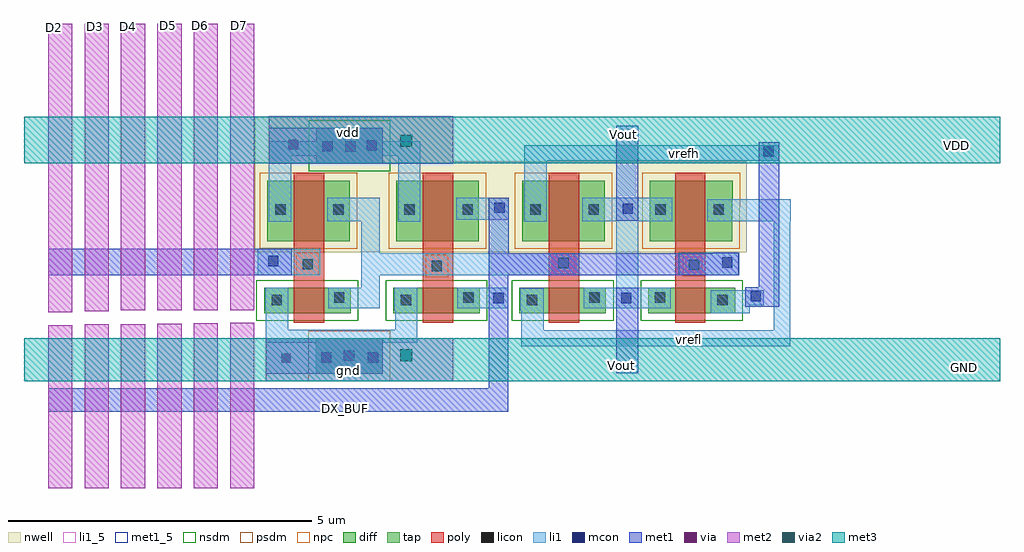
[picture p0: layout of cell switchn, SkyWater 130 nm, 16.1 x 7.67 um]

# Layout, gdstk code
import gdstk
lib = gdstk.Library(unit=1e-6, precision=1e-09)
def R(c, l, rs):  # rectangles x0, y0, x1, y1
    for r in rs: c.add(gdstk.rectangle(r[:2], r[2:], *l))
def A(c, l, x, y, w, h, nx, ny, dx, dy):  # array of equal rectangles
    R(c, l, [(x+i*dx, y+j*dy, x+i*dx+w, y+j*dy+h) for i in range(nx) for j in range(ny)])
nwell = (64, 20)
diff = (65, 20)
tap = (65, 44)
poly = (66, 20)
licon = (66, 44)
li1_5 = (67, 5)
li1 = (67, 20)
mcon = (67, 44)
met1_5 = (68, 5)
met1 = (68, 20)
via = (68, 44)
met2 = (69, 20)
via2 = (69, 44)
met3 = (70, 20)
nsdm = (93, 44)
psdm = (94, 20)
npc = (95, 20)

switchn = lib.new_cell('switchn')
R(switchn, nwell, [(-0.19,0,7.92,1.5), (-0.19,1.5,3.08,2.24)])
R(switchn, diff, [(-0.04,-1.01,1.39,-0.59), (2.09,-1.01,3.52,-0.59), (4.17,-1.01,5.6,-0.59), (6.3,-1.01,7.73,-0.59), (0.01,0.18,1.37,1.18), (2.14,0.18,3.5,1.18), (4.22,0.18,5.58,1.18), (6.32,0.18,7.68,0.87), (6.32,0.87,7.69,1.18)])
R(switchn, tap, [(0.81,-2.01,1.92,-1.42), (0.82,1.46,1.92,2.05)])
A(switchn, poly, 2.58, -1.17, 0.5, 2.48, 3, 1, 2.08, 0)
R(switchn, poly, [(0.45,-1.17,0.95,1.31)])
R(switchn, licon, [(1.275,-1.795,1.445,-1.625), (0.085,-0.875,0.255,-0.705), (2.215,-0.875,2.385,-0.705), (4.295,-0.875,4.465,-0.705), (7.435,-0.875,7.605,-0.705), (1.115,-0.835,1.285,-0.665), (3.245,-0.835,3.415,-0.665), (5.325,-0.835,5.495,-0.665), (6.405,-0.835,6.575,-0.665), (2.725,-0.315,2.895,-0.145), (6.965,-0.295,7.135,-0.125), (0.595,-0.285,0.765,-0.115), (4.815,-0.265,4.985,-0.095), (0.145,0.615,0.315,0.785), (1.105,0.615,1.275,0.785), (2.275,0.615,2.445,0.785), (3.235,0.615,3.405,0.785), (4.355,0.615,4.525,0.785), (5.315,0.615,5.485,0.785), (6.415,0.615,6.585,0.785), (7.375,0.615,7.545,0.785), (1.3,1.655,1.47,1.825)])
R(switchn, li1_5, [(6.77,-1.465,7.16,-1.435), (6.705,1.615,7.095,1.645)])
R(switchn, li1, [(0.81,-2.01,1.92,-1.5), (4.2,-1.55,8.64,-1.29), (8.37,-1.55,8.64,0.51), (-0.01,-1.5,0.36,-0.97), (-0.01,-1.5,2.49,-1.28), (4.2,-1.29,4.57,-0.97), (2.12,-1.28,2.49,-0.97), (7.33,-1.01,7.97,-0.88), (-0.02,-0.97,0.36,-0.6), (2.11,-0.97,2.49,-0.6), (4.19,-0.97,4.57,-0.6), (1.02,-0.93,1.87,-0.59), (3.15,-0.93,3.99,-0.59), (5.23,-0.93,6.67,-0.59), (5.77,-0.93,6.13,0.9), (7.33,-0.88,8.2,-0.63), (-0.01,-0.6,0.36,-0.59), (2.12,-0.6,2.49,-0.59), (1.56,-0.59,1.87,-0.38), (-0.145,-0.385,0.89,0.055), (1.56,-0.38,5.15,-0.02), (6.8,-0.38,7.8,-0.01), (1.56,-0.02,1.87,0.51), (0.04,0.5,0.41,1.59), (2.17,0.5,2.54,1.59), (4.25,0.5,4.62,1.76), (1,0.51,1.87,0.9), (5.21,0.51,6.69,0.9), (7.27,0.51,8.65,0.87), (3.13,0.53,4,0.9), (0.82,1.46,1.92,1.59), (4.25,1.51,8.46,1.76), (0.04,1.59,2.54,1.83), (0.82,1.83,1.92,2.05)])
R(switchn, mcon, [(0.9,-1.825,1.07,-1.655), (1.67,-1.825,1.84,-1.655), (3.74,-0.845,3.91,-0.675), (5.85,-0.845,6.02,-0.675), (7.985,-0.815,8.155,-0.645), (7.515,-0.255,7.685,-0.085), (0.025,-0.23,0.195,-0.06), (5.875,0.63,6.045,0.8), (3.76,0.645,3.93,0.815), (8.195,1.575,8.365,1.745), (0.92,1.66,1.09,1.83), (1.65,1.675,1.82,1.845)])
R(switchn, met1_5, [(1.19,-1.98,1.53,-1.92), (1.22,1.95,1.5,2)])
R(switchn, met1, [(-3.6,-2.635,3.985,-2.25), (3.67,-2.635,3.985,-0.36), (-0.01,-2.01,1.92,-1.42), (5.77,-2,6.13,-0.59), (3.67,-0.93,3.99,-0.38), (7.9,-0.9,8.46,-0.58), (8.12,-0.58,8.46,1.48), (-3.6,-0.385,0.42,0.055), (3.67,-0.38,7.79,-0.02), (3.67,-0.02,4,0.9), (7.37,-0.02,7.77,-0.01), (5.77,0.515,6.13,2.085), (0.04,1.46,1.92,2.05), (8.12,1.48,8.46,1.81)])
R(switchn, via, [(0.25,-1.83,0.4,-1.68), (0.37,1.7,0.52,1.85)])
A(switchn, met2, -2.4, -0.96, 0.4, 4.73, 4, 1, 0.6, 0)
R(switchn, met2, [(-3.6,-3.9,-3.2,-1.21), (-3,-3.9,-2.6,-1.19), (-2.4,-3.9,-2,-1.19), (-1.8,-3.9,-1.4,-1.185), (-1.2,-3.9,-0.8,-1.175), (-0.6,-3.9,-0.2,-1.165), (-0.01,-2.135,3.08,-1.42), (-3.6,-0.99,-3.2,3.77), (-3,-0.975,-2.6,3.77), (0.04,1.46,3.08,2.24)])
R(switchn, via2, [(2.205,-1.805,2.405,-1.605), (2.205,1.735,2.405,1.935)])
R(switchn, met3, [(-4,-2.135,12.1,-1.42), (-4,1.465,12.1,2.235)])
R(switchn, nsdm, [(-0.165,-1.135,1.515,-0.465), (1.965,-1.135,3.645,-0.465), (4.045,-1.135,5.725,-0.465), (6.175,-1.135,7.855,-0.465), (0.695,1.335,2.045,2.175)])
R(switchn, psdm, [(0.685,-2.135,2.045,-1.295), (-0.115,0.055,1.495,1.305), (2.015,0.055,3.625,1.305), (4.095,0.055,5.705,1.305), (6.195,0.055,7.805,0.745), (6.195,0.745,7.815,1.305)])
R(switchn, npc, [(2.625,-0.415,2.995,-0.045), (6.865,-0.395,7.235,-0.025), (0.495,-0.385,0.865,-0.015), (4.715,-0.365,5.085,0.005)])
switchn.add(gdstk.Label('vrefh', (6.9,1.63), layer=67, texttype=5))
switchn.add(gdstk.Label('vrefl', (6.965,-1.45), layer=67, texttype=5))
switchn.add(gdstk.Label('DX_BUF', (1.31,-2.585), layer=68, texttype=5))
switchn.add(gdstk.Label('Vout', (5.855,-1.877), layer=68, texttype=5))
switchn.add(gdstk.Label('Vout', (5.884,1.944), layer=68, texttype=5))
switchn.add(gdstk.Label('vdd', (1.36,1.975), layer=68, texttype=5))
switchn.add(gdstk.Label('gnd', (1.36,-1.95), layer=68, texttype=5))
switchn.add(gdstk.Label('D2', (-3.498,3.7), layer=69, texttype=5))
switchn.add(gdstk.Label('D3', (-2.814,3.72), layer=69, texttype=5))
switchn.add(gdstk.Label('D4', (-2.276,3.725), layer=69, texttype=5))
switchn.add(gdstk.Label('D5', (-1.617,3.745), layer=69, texttype=5))
switchn.add(gdstk.Label('D6', (-1.085,3.73), layer=69, texttype=5))
switchn.add(gdstk.Label('D7', (-0.441,3.735), layer=69, texttype=5))
switchn.add(gdstk.Label('VDD', (11.375,1.76), layer=70, texttype=5))
switchn.add(gdstk.Label('GND', (11.51,-1.905), layer=70, texttype=5))

lib.write_gds('switchn.gds')
